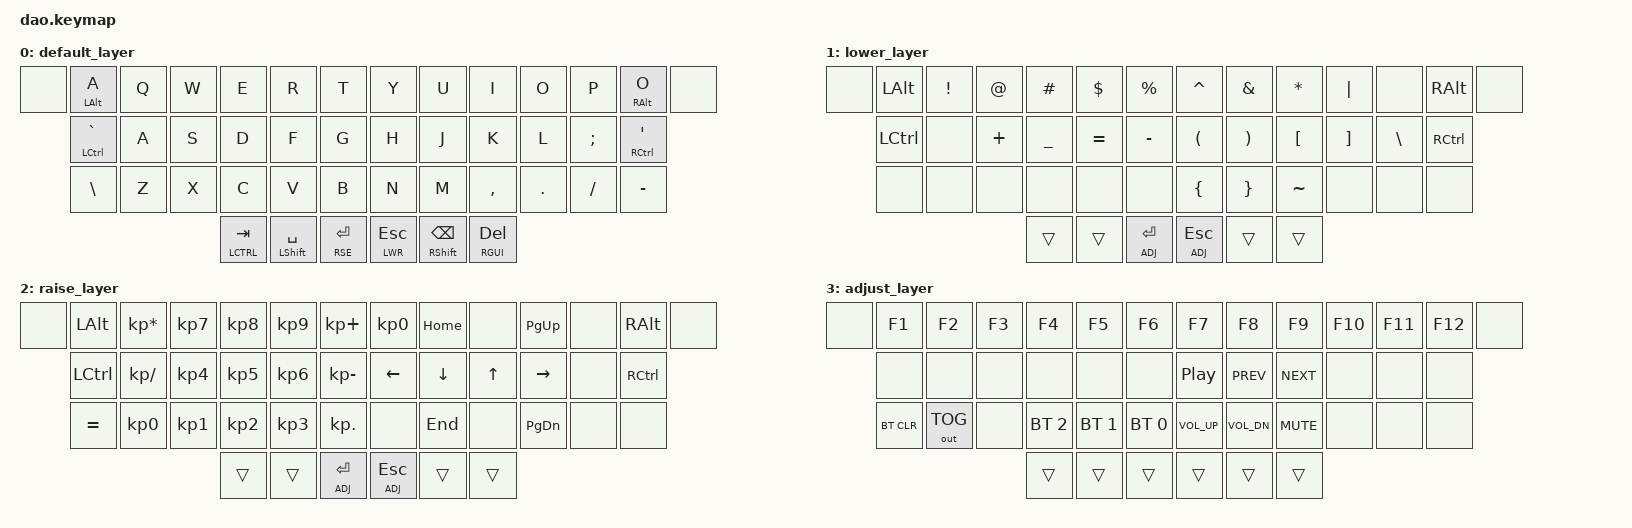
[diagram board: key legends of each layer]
/*
 * Copyright (c) 2021 Rafael Yumagulov
 *
 * SPDX-License-Identifier: MIT
 */

#include <behaviors.dtsi>
#include <dt-bindings/zmk/keys.h>
#include <dt-bindings/zmk/bt.h>
#include <dt-bindings/zmk/outputs.h>

#define HOST_OS 2
// #include "../../../../zmk-nodefree-config/helper.h"
// #include "../../../../zmk-nodefree-config/swedish.dtsi"

#define DEF 0
#define LWR 1
#define RSE 2
#define ADJ 3

&lt { quick_tap_ms = <200>; };
&mt { quick_tap_ms = <200>; };

/ {
        keymap {
                compatible = "zmk,keymap";

                default_layer {
                        bindings = <
  &none   &mt LALT A     &kp Q   &kp W   &kp E         &kp R             &kp T         &kp Y         &kp U            &kp I         &kp O     &kp P      &mt RALT O        &none
          &mt LCTRL GRAVE   &kp A   &kp S   &kp D         &kp F             &kp G         &kp H         &kp J            &kp K         &kp L     &kp SEMI   &mt RCTRL SQT
          &kp BSLH    &kp Z   &kp X   &kp C         &kp V             &kp B         &kp N         &kp M            &kp COMMA     &kp DOT   &kp FSLH   &kp MINUS
                                            &lt LCTRL TAB   &mt LSHFT SPACE   &lt RSE RET   &lt LWR ESC   &mt RSHFT BSPC   &lt RGUI DEL
                        >;
                };
                lower_layer {
                        bindings = <
  &none   &kp LALT      &kp EXCL     &kp AT   &kp HASH        &kp DOLLAR     &kp PERCENT      &kp CARET      &kp AMPS     &kp ASTERISK        &kp PIPE    &none    &kp RALT           &none
          &kp LCTRL   &none   &kp PLUS   &kp UNDER      &kp EQUAL   &kp MINUS   &kp LPAR   &kp RPAR   &kp LBKT      &kp RBKT   &kp BSLH   &kp RCTRL
          &none  &none &none &none &none &none &kp LBRC &kp RBRC &kp TILDE &none &none &none
                                               &trans &trans     &lt ADJ RET      &lt ADJ ESC      &trans     &trans
                        >;
                };

                raise_layer {
                        bindings = <
  &none   &kp LALT   &kp KP_MULTIPLY      &kp KP_N7   &kp KP_N8   &kp KP_N9   &kp KP_PLUS   &kp KP_N0   &kp HOME   &none   &kp PG_UP   &none          &kp RALT           &none
          &kp LCTRL   &kp KP_SLASH   &kp KP_N4   &kp KP_N5   &kp KP_N6   &kp KP_MINUS         &kp LEFT  &kp DOWN &kp UP      &kp RIGHT   &none           &kp RCTRL
          &kp EQUAL         &kp KP_N0         &kp KP_N1   &kp KP_N2   &kp KP_N3   &kp KP_DOT     &none   &kp END    &none    &kp PG_DN   &none   &none
                                                          &trans      &trans      &lt ADJ RET    &lt ADJ ESC    &trans     &trans
                        >;
                };
                adjust_layer {
                        bindings = <
  &none   &kp F1  &kp F2          &kp F3          &kp F4          &kp F5          &kp F6          &kp F7          &kp F8          &kp F9          &kp F10          &kp F11          &kp F12   &none
          &none &none &none &none &none &none &kp C_PP &kp C_PREV &kp C_NEXT &none &none &none
          &bt BT_CLR &out OUT_TOG &none &bt BT_SEL 2 &bt BT_SEL 1 &bt BT_SEL 0 &kp C_VOL_UP          &kp C_VOL_DN          &kp C_MUTE          &none          &none          &none
                                                      &trans         &trans         &trans         &trans          &trans         &trans
                        >;
                };
        };
};
